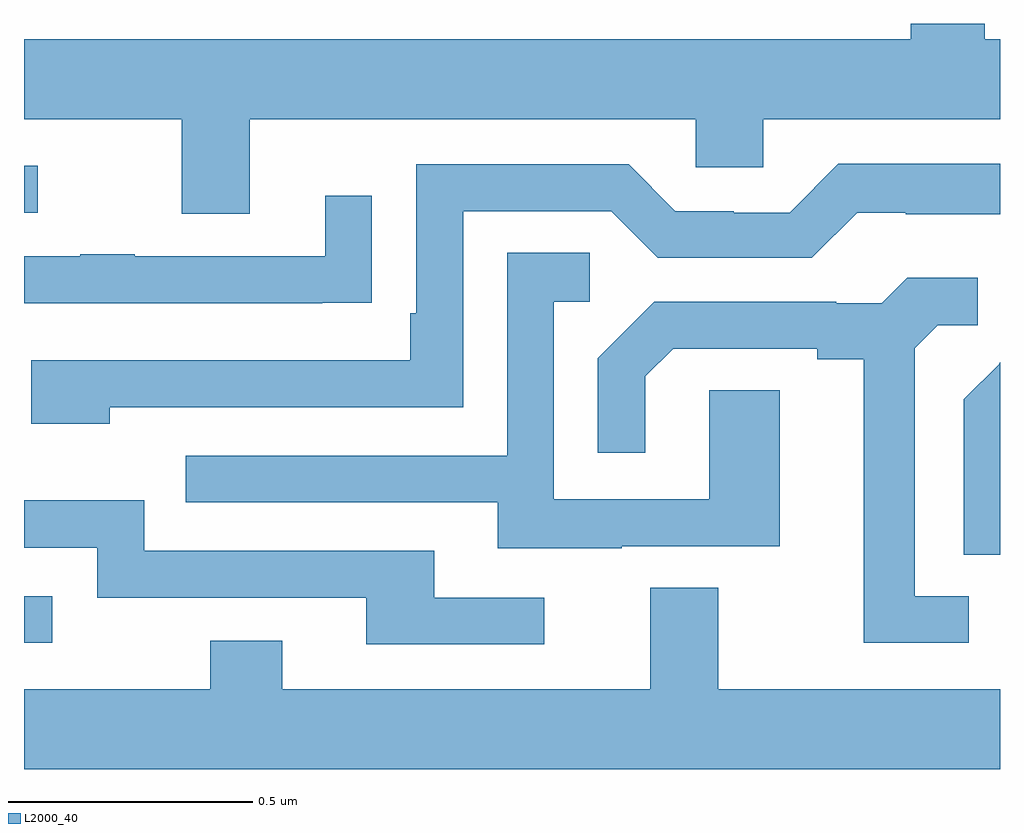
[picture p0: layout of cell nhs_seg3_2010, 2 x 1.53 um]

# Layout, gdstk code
import gdstk
lib = gdstk.Library(unit=1e-6, precision=1e-09)
def R(c, l, rs):  # rectangles x0, y0, x1, y1
    for r in rs: c.add(gdstk.rectangle(r[:2], r[2:], *l))
def P(c, l, *ps):  # polygons
    for p in ps: c.add(gdstk.Polygon(p, *l))
L2000_40 = (2000, 40)

nhs_seg3_2010 = lib.new_cell('nhs_seg3_2010')
R(nhs_seg3_2010, L2000_40, [(135,745.131,135.058,745.227), (135,746.013,135.028,746.109)])
P(nhs_seg3_2010, L2000_40, [(135.463,746.204),(136.377,746.204),(136.377,746.106),(136.515,746.106),(136.515,746.204),(137,746.204),(137,746.368),(136.969,746.368),(136.969,746.4),(136.817,746.4),(136.817,746.368),(135,746.368),(135,746.204),(135.323,746.204),(135.323,746.01),(135.463,746.01)],
  [(135.176,745.614),(135.9,745.614),(135.9,746.016),(136.203,746.016),(136.299,745.92),(136.614,745.92),(136.707,746.013),(136.807,746.013),(136.807,746.009),(137,746.009),(137,746.113),(136.669,746.113),(136.569,746.013),(136.454,746.013),(136.454,746.016),(136.335,746.016),(136.239,746.112),(135.804,746.112),(135.804,745.807),(135.791,745.807),(135.791,745.71),(135.015,745.71),(135.015,745.58),(135.176,745.58)],
  [(135.611,745.828),(135.713,745.828),(135.713,746.047),(135.617,746.047),(135.617,745.923),(135.227,745.923),(135.227,745.928),(135.115,745.928),(135.115,745.923),(135,745.923),(135,745.827),(135.611,745.827)],
  [(136.225,745.329),(136.549,745.329),(136.549,745.649),(136.404,745.649),(136.404,745.425),(136.086,745.425),(136.086,745.83),(136.159,745.83),(136.159,745.931),(135.99,745.931),(135.99,745.515),(135.331,745.515),(135.331,745.419),(135.971,745.419),(135.971,745.325),(136.225,745.325)],
  [(136.936,745.227),(136.825,745.227),(136.825,745.735),(136.872,745.782),(136.954,745.782),(136.954,745.879),(136.81,745.879),(136.758,745.827),(136.664,745.827),(136.664,745.83),(136.292,745.83),(136.176,745.714),(136.176,745.521),(136.273,745.521),(136.273,745.677),(136.33,745.734),(136.625,745.734),(136.625,745.712),(136.721,745.712),(136.721,745.131),(136.936,745.131)],
  [(137,745.706),(136.998,745.704),(136.999,745.703),(136.926,745.63),(136.926,745.312),(137,745.312)],
  [(136.066,745.224),(135.841,745.224),(135.841,745.32),(135.246,745.32),(135.246,745.423),(135,745.423),(135,745.326),(135.15,745.326),(135.15,745.224),(135.701,745.224),(135.701,745.128),(136.066,745.128)],
  [(137,745.036),(136.423,745.036),(136.423,745.244),(136.283,745.244),(136.283,745.036),(135.529,745.036),(135.529,745.135),(135.382,745.135),(135.382,745.036),(135,745.036),(135,744.872),(137,744.872)])

lib.write_gds('nhs_seg3_2010.gds')
